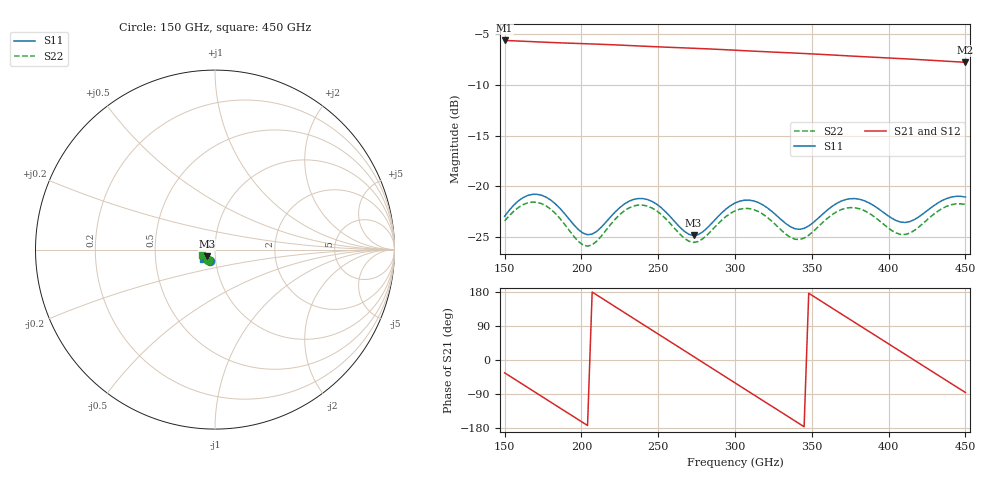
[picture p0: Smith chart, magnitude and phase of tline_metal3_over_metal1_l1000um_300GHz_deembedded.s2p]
! Created with skrf 2.0.1 (http://scikit-rf.org).
# GHz S DB R 50.0
!freq dBS11 angS11 dBS21 angS21 dBS12 angS12 dBS22 angS22
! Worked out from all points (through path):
!   101 points, 150 GHz to 450 GHz, reference 50 ohm
!   highest |S21| = -5.61 dB at 150 GHz (marker M1); lowest = -7.8 dB at 450 GHz (marker M2)
!   group delay of S21, straight-line fit = 7.15 ps
!   lowest |S11| = -24.9 dB at 273 GHz (marker M3), VSWR 1.12, Z = 45.7 - j3.34 ohm
!   |S11| at or under -10 dB: start of sweep to end of sweep
!   |S22| runs from -25.9 to -21.6 dB; largest |S21 - S12| = 5.8e-14
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150  -22.98 -115.2  -5.61 -33.8  -5.61 -33.8  -23.43 -124.7
162  -21.13 -123.5  -5.68 -64.7  -5.68 -64.7  -21.82 -132.4
174  -20.89 -136.9  -5.76 -95.6  -5.76 -95.6  -21.72 -145.4
186  -22.19 -146.9  -5.84 -126.5  -5.84 -126.5  -23.18 -155.3
201  -24.64 -141.6  -5.92 -165.1  -5.92 -165.1  -25.81 -148.1
216  -23.55 -126.4  -6.01 156.1  -6.01 156.1  -24.36 -131.8
231  -21.49 -132.1  -6.11 117.4  -6.11 117.4  -22.15 -139.0
240  -21.22 -140.3  -6.17 94.2  -6.17 94.2  -21.87 -148.0
252  -22.13 -149.7  -6.25 63.3  -6.25 63.3  -22.80 -158.2
273  -24.87 -140.3  -6.38 9.3  -6.38 9.3  -25.55 -149.8
285  -23.64 -129.0  -6.46 -21.7  -6.46 -21.7  -24.34 -139.3
300  -21.67 -133.4  -6.57 -60.4  -6.57 -60.4  -22.43 -144.6
321  -22.13 -148.3  -6.73 -114.4  -6.73 -114.4  -23.08 -160.3
336  -24.00 -145.4  -6.83 -153.0  -6.83 -153.0  -25.05 -157.0
351  -23.59 -131.6  -6.94 168.4  -6.94 168.4  -24.46 -143.0
366  -21.72 -132.4  -7.06 129.8  -7.06 129.8  -22.54 -145.2
378  -21.23 -140.1  -7.16 99.0  -7.16 99.0  -22.13 -154.0
390  -21.88 -146.6  -7.26 68.2  -7.26 68.2  -22.94 -161.0
402  -23.16 -145.7  -7.35 37.4  -7.35 37.4  -24.38 -159.5
423  -22.66 -131.5  -7.52 -16.5  -7.52 -16.5  -23.60 -144.1
438  -21.21 -134.8  -7.66 -55.0  -7.66 -55.0  -21.97 -148.8
450  -21.07 -142.0  -7.77 -85.7  -7.77 -85.7  -21.80 -157.1
